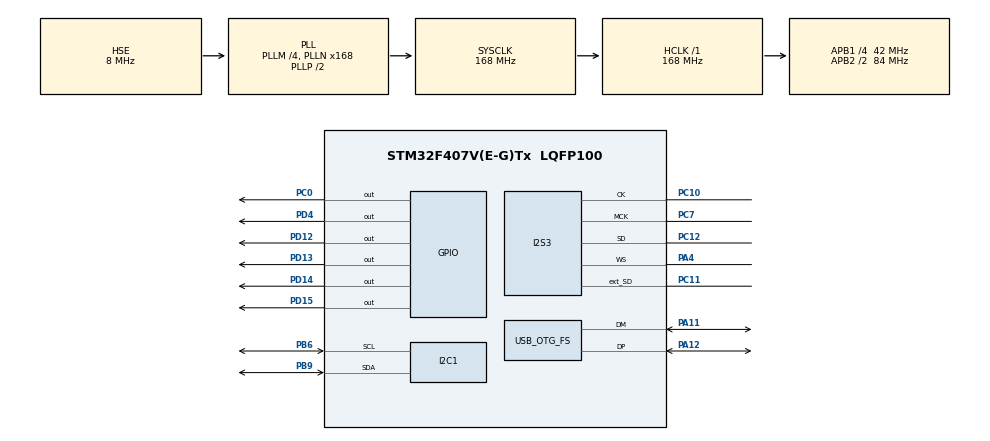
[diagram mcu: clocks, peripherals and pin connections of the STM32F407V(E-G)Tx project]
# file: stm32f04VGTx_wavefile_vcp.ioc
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Dma.Request0=SPI3_TX
Dma.SPI3_TX.0.Direction=DMA_MEMORY_TO_PERIPH
Dma.SPI3_TX.0.FIFOMode=DMA_FIFOMODE_ENABLE
Dma.SPI3_TX.0.FIFOThreshold=DMA_FIFO_THRESHOLD_FULL
Dma.SPI3_TX.0.Instance=DMA1_Stream5
Dma.SPI3_TX.0.MemBurst=DMA_MBURST_INC8
Dma.SPI3_TX.0.MemDataAlignment=DMA_MDATAALIGN_BYTE
Dma.SPI3_TX.0.MemInc=DMA_MINC_ENABLE
Dma.SPI3_TX.0.Mode=DMA_NORMAL
Dma.SPI3_TX.0.PeriphBurst=DMA_PBURST_SINGLE
Dma.SPI3_TX.0.PeriphDataAlignment=DMA_PDATAALIGN_HALFWORD
Dma.SPI3_TX.0.PeriphInc=DMA_PINC_DISABLE
Dma.SPI3_TX.0.Priority=DMA_PRIORITY_LOW
FREERTOS.Tasks01=defaultTask,0,128,StartDefaultTask,Default,NULL
I2C1.OwnAddress=0x33
I2S3.AudioFreq=I2S_AUDIOFREQ_48K
I2S3.ErrorAudioFreq=-2.34 %
I2S3.FullDuplexMode=I2S_FULLDUPLEXMODE_ENABLE
I2S3.Instance=SPI$Index
I2S3.RealAudioFreq=46.875 KHz
I2S3.VirtualMode=I2S_MODE_MASTER
Mcu.Family=STM32F4
Mcu.Name=STM32F407V(E-G)Tx
Mcu.Package=LQFP100
NVIC.DMA1_Stream5_IRQn=true\:5\:0\:false\:false\:true\:true\:false\:true
NVIC.OTG_FS_IRQn=true\:5\:0\:false\:false\:true\:true\:false\:true
NVIC.PriorityGroup=NVIC_PRIORITYGROUP_4
NVIC.TIM6_DAC_IRQn=true\:0\:0\:false\:false\:true\:false\:false\:true
NVIC.TimeBase=TIM6_DAC_IRQn
NVIC.TimeBaseIP=TIM6
PA11.Mode=Device_Only
PA11.Signal=USB_OTG_FS_DM
PA12.Mode=Device_Only
PA12.Signal=USB_OTG_FS_DP
PA4.Mode=Full_Duplex_Master
PA4.Signal=I2S3_WS
PB6.Mode=I2C
PB6.Signal=I2C1_SCL
PB9.Mode=I2C
PB9.Signal=I2C1_SDA
PC0.Signal=GPIO_Output
PC10.Mode=Full_Duplex_Master
PC10.Signal=I2S3_CK
PC11.Mode=Full_Duplex_Master
PC11.Signal=I2S3_ext_SD
PC12.Mode=Full_Duplex_Master
PC12.Signal=I2S3_SD
PC7.Mode=Master_Clock_Activated
PC7.Signal=I2S3_MCK
PD12.Signal=GPIO_Output
PD13.Signal=GPIO_Output
PD14.Signal=GPIO_Output
PD15.Signal=GPIO_Output
PD4.GPIO_PuPd=GPIO_PULLDOWN
PD4.GPIO_Speed=GPIO_SPEED_FREQ_MEDIUM
PD4.Signal=GPIO_Output
PH0-OSC_IN.Mode=HSE-External-Oscillator
PH0-OSC_IN.Signal=RCC_OSC_IN
PH1-OSC_OUT.Mode=HSE-External-Oscillator
PH1-OSC_OUT.Signal=RCC_OSC_OUT
ProjectManager.HeapSize=0x2000
ProjectManager.StackSize=0x4000
ProjectManager.TargetToolchain=TrueSTUDIO
RCC.48MHZClocksFreq_Value=48000000
RCC.AHBFreq_Value=168000000
RCC.APB1CLKDivider=RCC_HCLK_DIV4
RCC.APB1Freq_Value=42000000
RCC.APB1TimFreq_Value=84000000
RCC.APB2CLKDivider=RCC_HCLK_DIV2
RCC.APB2Freq_Value=84000000
RCC.APB2TimFreq_Value=168000000
RCC.CortexFreq_Value=168000000
RCC.HCLKFreq_Value=168000000
RCC.HSE_VALUE=8000000
RCC.HSI_VALUE=16000000
RCC.LSE_VALUE=32768
RCC.PLLM=4
RCC.PLLN=168
RCC.PLLQ=7
RCC.SYSCLKFreq_VALUE=168000000
RCC.SYSCLKSource=RCC_SYSCLKSOURCE_PLLCLK
RCC.VCOOutputFreq_Value=336000000
USB_DEVICE.CLASS_NAME_FS=CDC
USB_DEVICE.VirtualMode-CDC_FS=Cdc
USB_DEVICE.VirtualModeFS=Cdc_FS
USB_OTG_FS.VirtualMode=Device_Only
VP_FREERTOS_VS_CMSIS_V1.Mode=CMSIS_V1
VP_SYS_VS_tim6.Mode=TIM6
VP_USB_DEVICE_VS_USB_DEVICE_CDC_FS.Mode=CDC_FS
board=STM32F407G-DISC1

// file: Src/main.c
/* USER CODE BEGIN Header */
/**
  ******************************************************************************
  * @file           : main.c
  * @brief          : Main program body
  ******************************************************************************
  * @attention
  *
  * <h2><center>&copy; Copyright (c) 2019 STMicroelectronics.
  * All rights reserved.</center></h2>
  *
  * This software component is licensed by ST under Ultimate Liberty license
  * SLA0044, the "License"; You may not use this file except in compliance with
  * the License. You may obtain a copy of the License at:
  *                             www.st.com/SLA0044
  *
  ******************************************************************************
  */
/* USER CODE END Header */

#include "main.h"
#include "cmsis_os.h"
#include "usb_device.h"

/* USER CODE BEGIN Includes */
#include "serial.h"
#include "usbd_cdc_if.h"
#include "string.h"
#include "audioplay.h"
/* USER CODE END Includes */

/* USER CODE BEGIN PD */
extern AUDIO_StateMachine Audio;
extern uint8_t audio_data[];
WAVE_FormatTypeDef * waveformat = NULL;
uint32_t WaveDataLength = 0;
char str [100];
char *FileName = "audio.wav";
uint8_t info [44];
SemaphoreHandle_t semaVCPReady;
/* USER CODE END PD */

I2C_HandleTypeDef hi2c1;

I2S_HandleTypeDef hi2s3;
DMA_HandleTypeDef hdma_spi3_tx;

osThreadId defaultTaskHandle;

void SystemClock_Config(void);
static void MX_GPIO_Init(void);
static void MX_DMA_Init(void);
static void MX_I2C1_Init(void);
static void MX_I2S3_Init(void);
void StartDefaultTask(void const * argument);

/* USER CODE BEGIN 0 */
void HAL_I2S_TxCpltCallback (I2S_HandleTypeDef * hi2s3) {
  if (hi2s3-> Instance == I2S3) {
    /* Call the user function which will manage directly transfer complete */
    AudioPlay_TransferComplete_CallBack ();
  }
}

// ����������������

void HAL_I2S_TxHalfCpltCallback (I2S_HandleTypeDef * hi2s) {
  if (hi2s-> Instance == I2S3) {
    /* Manage the remaining file size and new address offset: This function should
       be coded by user (its prototype is already declared in stm32f4_discovery_audio.h) */
    AudioPlay_HalfTransfer_CallBack ();
  }
}

void CDC_ReceiveCallBack(uint8_t *buf, uint32_t len) {
	vcp_store_data(buf, len);
}

void HeartBeatTask(void *arg) {
	//xSemaphoreTake(semaVCPReady, portMAX_DELAY);
	//xSemaphoreTake(semaVCPReady, portMAX_DELAY);
	while (true) {
		HAL_Delay(200);
		HAL_GPIO_TogglePin(GPIOD, GPIO_PIN_12);
	}
}

// ������������
/* USER CODE END 0 */

int main(void)
{

  /* MCU Configuration--------------------------------------------------------*/

  /* Reset of all peripherals, Initializes the Flash interface and the Systick. */
  HAL_Init();

  /* Configure the system clock */
  SystemClock_Config();

  /* Initialize all configured peripherals */
  MX_GPIO_Init();
  MX_DMA_Init();
  MX_I2C1_Init();
  MX_I2S3_Init();

  /* USER CODE BEGIN RTOS_QUEUES */
  /* add queues, ... */
  semaVCPReady = xSemaphoreCreateBinary();
  /* USER CODE END RTOS_QUEUES */

  /* Create the thread(s) */
  /* definition and creation of defaultTask */
  osThreadDef(defaultTask, StartDefaultTask, osPriorityNormal, 0, 128);
  defaultTaskHandle = osThreadCreate(osThread(defaultTask), NULL);

  /* USER CODE BEGIN RTOS_THREADS */
  /* add threads, ... */
  xTaskCreate(HeartBeatTask, "heart beat", 128, 0, 2, 0);
  /* USER CODE END RTOS_THREADS */

  /* Start scheduler */
  osKernelStart();

  /* We should never get here as control is now taken by the scheduler */

  /* Infinite loop */
  while (1)
  {

    /* USER CODE BEGIN 3 */
    //MenuProcess ();
  }
  /* USER CODE END 3 */
}

void SystemClock_Config(void)
{
  RCC_OscInitTypeDef RCC_OscInitStruct = {0};
  RCC_ClkInitTypeDef RCC_ClkInitStruct = {0};
  RCC_PeriphCLKInitTypeDef PeriphClkInitStruct = {0};

  /** Configure the main internal regulator output voltage
  */
  __HAL_RCC_PWR_CLK_ENABLE();
  __HAL_PWR_VOLTAGESCALING_CONFIG(PWR_REGULATOR_VOLTAGE_SCALE1);
  /** Initializes the CPU, AHB and APB busses clocks
  */
  RCC_OscInitStruct.OscillatorType = RCC_OSCILLATORTYPE_HSE;
  RCC_OscInitStruct.HSEState = RCC_HSE_ON;
  RCC_OscInitStruct.PLL.PLLState = RCC_PLL_ON;
  RCC_OscInitStruct.PLL.PLLSource = RCC_PLLSOURCE_HSE;
  RCC_OscInitStruct.PLL.PLLM = 4;
  RCC_OscInitStruct.PLL.PLLN = 168;
  RCC_OscInitStruct.PLL.PLLP = RCC_PLLP_DIV2;
  RCC_OscInitStruct.PLL.PLLQ = 7;
  if (HAL_RCC_OscConfig(&RCC_OscInitStruct) != HAL_OK)
  {
    Error_Handler();
  }
  /** Initializes the CPU, AHB and APB busses clocks
  */
  RCC_ClkInitStruct.ClockType = RCC_CLOCKTYPE_HCLK|RCC_CLOCKTYPE_SYSCLK
                              |RCC_CLOCKTYPE_PCLK1|RCC_CLOCKTYPE_PCLK2;
  RCC_ClkInitStruct.SYSCLKSource = RCC_SYSCLKSOURCE_PLLCLK;
  RCC_ClkInitStruct.AHBCLKDivider = RCC_SYSCLK_DIV1;
  RCC_ClkInitStruct.APB1CLKDivider = RCC_HCLK_DIV4;
  RCC_ClkInitStruct.APB2CLKDivider = RCC_HCLK_DIV2;

  if (HAL_RCC_ClockConfig(&RCC_ClkInitStruct, FLASH_LATENCY_5) != HAL_OK)
  {
    Error_Handler();
  }
  PeriphClkInitStruct.PeriphClockSelection = RCC_PERIPHCLK_I2S;
  PeriphClkInitStruct.PLLI2S.PLLI2SN = 192;
  PeriphClkInitStruct.PLLI2S.PLLI2SR = 2;
  if (HAL_RCCEx_PeriphCLKConfig(&PeriphClkInitStruct) != HAL_OK)
  {
    Error_Handler();
  }
}

static void MX_I2C1_Init(void)
{

  hi2c1.Instance = I2C1;
  hi2c1.Init.ClockSpeed = 100000;
  hi2c1.Init.DutyCycle = I2C_DUTYCYCLE_2;
  hi2c1.Init.OwnAddress1 = 102;
  hi2c1.Init.AddressingMode = I2C_ADDRESSINGMODE_7BIT;
  hi2c1.Init.DualAddressMode = I2C_DUALADDRESS_DISABLE;
  hi2c1.Init.OwnAddress2 = 0;
  hi2c1.Init.GeneralCallMode = I2C_GENERALCALL_DISABLE;
  hi2c1.Init.NoStretchMode = I2C_NOSTRETCH_DISABLE;
  if (HAL_I2C_Init(&hi2c1) != HAL_OK)
  {
    Error_Handler();
  }

}

static void MX_I2S3_Init(void)
{

  hi2s3.Instance = SPI3;
  hi2s3.Init.Mode = I2S_MODE_MASTER_TX;
  hi2s3.Init.Standard = I2S_STANDARD_PHILIPS;
  hi2s3.Init.DataFormat = I2S_DATAFORMAT_16B;
  hi2s3.Init.MCLKOutput = I2S_MCLKOUTPUT_ENABLE;
  hi2s3.Init.AudioFreq = I2S_AUDIOFREQ_48K;
  hi2s3.Init.CPOL = I2S_CPOL_LOW;
  hi2s3.Init.ClockSource = I2S_CLOCK_PLL;
  hi2s3.Init.FullDuplexMode = I2S_FULLDUPLEXMODE_ENABLE;
  if (HAL_I2S_Init(&hi2s3) != HAL_OK)
  {
    Error_Handler();
  }

}

static void MX_DMA_Init(void)
{

  /* DMA controller clock enable */
  __HAL_RCC_DMA1_CLK_ENABLE();

  /* DMA interrupt init */
  /* DMA1_Stream5_IRQn interrupt configuration */
  HAL_NVIC_SetPriority(DMA1_Stream5_IRQn, 5, 0);
  HAL_NVIC_EnableIRQ(DMA1_Stream5_IRQn);

}

static void MX_GPIO_Init(void)
{
  GPIO_InitTypeDef GPIO_InitStruct = {0};

  /* GPIO Ports Clock Enable */
  __HAL_RCC_GPIOH_CLK_ENABLE();
  __HAL_RCC_GPIOC_CLK_ENABLE();
  __HAL_RCC_GPIOA_CLK_ENABLE();
  __HAL_RCC_GPIOD_CLK_ENABLE();
  __HAL_RCC_GPIOB_CLK_ENABLE();

  /*Configure GPIO pin Output Level */
  HAL_GPIO_WritePin(GPIOC, GPIO_PIN_0, GPIO_PIN_RESET);

  /*Configure GPIO pin Output Level */
  HAL_GPIO_WritePin(GPIOD, GPIO_PIN_12|GPIO_PIN_13|GPIO_PIN_14|GPIO_PIN_15
                          |GPIO_PIN_4, GPIO_PIN_RESET);

  /*Configure GPIO pin : PC0 */
  GPIO_InitStruct.Pin = GPIO_PIN_0;
  GPIO_InitStruct.Mode = GPIO_MODE_OUTPUT_PP;
  GPIO_InitStruct.Pull = GPIO_NOPULL;
  GPIO_InitStruct.Speed = GPIO_SPEED_FREQ_LOW;
  HAL_GPIO_Init(GPIOC, &GPIO_InitStruct);

  /*Configure GPIO pins : PD12 PD13 PD14 PD15 */
  GPIO_InitStruct.Pin = GPIO_PIN_12|GPIO_PIN_13|GPIO_PIN_14|GPIO_PIN_15;
  GPIO_InitStruct.Mode = GPIO_MODE_OUTPUT_PP;
  GPIO_InitStruct.Pull = GPIO_NOPULL;
  GPIO_InitStruct.Speed = GPIO_SPEED_FREQ_LOW;
  HAL_GPIO_Init(GPIOD, &GPIO_InitStruct);

  /*Configure GPIO pin : PD4 */
  GPIO_InitStruct.Pin = GPIO_PIN_4;
  GPIO_InitStruct.Mode = GPIO_MODE_OUTPUT_PP;
  GPIO_InitStruct.Pull = GPIO_PULLDOWN;
  GPIO_InitStruct.Speed = GPIO_SPEED_FREQ_MEDIUM;
  HAL_GPIO_Init(GPIOD, &GPIO_InitStruct);

}

void StartDefaultTask(void const * argument)
{
  /* init code for USB_DEVICE */
  MX_USB_DEVICE_Init();
  for(;;)
  {
    osDelay(1);
  }
}

void HAL_TIM_PeriodElapsedCallback(TIM_HandleTypeDef *htim)
{
  if (htim->Instance == TIM6) {
    HAL_IncTick();
  }
}

void Error_Handler(void)
{
}

/************************ (C) COPYRIGHT STMicroelectronics *****END OF FILE****/
